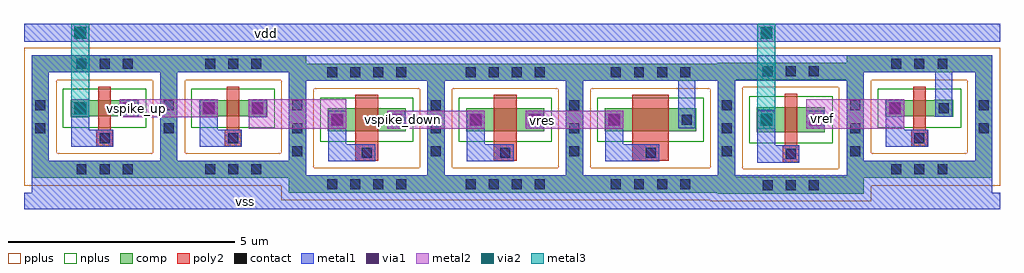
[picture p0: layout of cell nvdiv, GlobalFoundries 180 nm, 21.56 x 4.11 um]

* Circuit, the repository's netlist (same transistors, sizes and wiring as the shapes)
** sch_path: /foss/designs/Mosbious_2025_Spikcore/designs/libs/core_LIF_comp/core_vdiv/nvdiv.sch
.subckt nvdiv vss vdd vref vspike_up vspike_down vres
*.PININFO vref:O vdd:B vss:B vspike_up:O vspike_down:O vres:O
XM15 vdd vdd vspike_up vss nfet_03v3 L=0.28u W=0.36u nf=1 m=1
XM18 vspike_down vspike_down vres vss nfet_03v3 L=0.5u W=0.5u nf=1 m=1
XM16 vp vp vspike_down vss nfet_03v3 L=0.5u W=0.5u nf=1 m=1
XM19 vres vres vss vss nfet_03v3 L=0.8u W=0.5u nf=1 m=1
XM17 vspike_up vspike_up vp vss nfet_03v3 L=0.28u W=0.36u nf=1 m=1
XM20 vref vref vss vss nfet_03v3 L=0.28u W=0.36u nf=1 m=1
XM21 vdd vdd vref vss nfet_03v3 L=0.28u W=0.55u nf=1 m=1
.ends

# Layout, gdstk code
import gdstk
lib = gdstk.Library(unit=1e-6, precision=5e-09)
def R(c, l, rs):  # rectangles x0, y0, x1, y1
    for r in rs: c.add(gdstk.rectangle(r[:2], r[2:], *l))
def A(c, l, x, y, w, h, nx, ny, dx, dy):  # array of equal rectangles
    R(c, l, [(x+i*dx, y+j*dy, x+i*dx+w, y+j*dy+h) for i in range(nx) for j in range(ny)])
def P(c, l, *ps):  # polygons
    for p in ps: c.add(gdstk.Polygon(p, *l))
comp = (22, 0)
poly2 = (30, 0)
pplus = (31, 0)
nplus = (32, 0)
contact = (33, 0)
metal1 = (34, 0)
via1 = (35, 0)
metal2 = (36, 0)
via2 = (38, 0)
metal3 = (42, 0)

nfet_3 = lib.new_cell('nfet$3')
R(nfet_3, comp, [(-0.42,-0.01,0,0.37), (0.66,-0.01,1.08,0.37), (0,0,0.66,0.36)])
P(nfet_3, comp, [(-1.28,-1.36),(-1.28,0.97),(-0.9,0.97),(-0.9,-0.98),(1.56,-0.98),(1.56,0.97),(-1.28,0.97),(-1.28,1.35),(1.94,1.35),(1.94,-1.36)])
R(nfet_3, poly2, [(0.15,-0.66,0.51,-0.3), (0.19,-0.3,0.47,0.66)])
P(nfet_3, pplus, [(-1.45,-1.53),(-1.45,0.8),(-0.73,0.8),(-0.73,-0.81),(1.39,-0.81),(1.39,0.8),(-1.45,0.8),(-1.45,1.52),(2.11,1.52),(2.11,-1.53)])
R(nfet_3, nplus, [(-0.59,-0.25,1.25,0.61)])
A(nfet_3, contact, -0.29, -1.28, 0.22, 0.22, 3, 2, 0.51, 2.33)
R(nfet_3, contact, [(0.22,-0.59,0.44,-0.37), (-1.2,-0.37,-0.98,-0.15), (1.64,-0.37,1.86,-0.15), (-0.32,0.07,-0.1,0.29), (0.76,0.07,0.98,0.29), (-1.2,0.14,-0.98,0.36), (1.64,0.14,1.86,0.36)])
R(nfet_3, metal1, [(0.14,-0.67,0.52,-0.29), (-0.4,-0.01,-0.02,0.37), (0.68,-0.01,1.06,0.37)])

nfet_4 = lib.new_cell('nfet$4')
R(nfet_4, comp, [(-0.42,0,0,0.5), (0,0,0.88,0.5), (0.88,0,1.3,0.5)])
P(nfet_4, comp, [(-1.28,-1.36),(-1.28,1.11),(-0.9,1.11),(-0.9,-0.98),(1.78,-0.98),(1.78,1.11),(-1.28,1.11),(-1.28,1.49),(2.16,1.49),(2.16,-1.36)])
R(nfet_4, poly2, [(0.19,-0.66,0.69,-0.3), (0.19,-0.3,0.69,0.8)])
P(nfet_4, pplus, [(-1.45,-1.53),(-1.45,0.94),(-0.73,0.94),(-0.73,-0.81),(1.61,-0.81),(1.61,0.94),(-1.45,0.94),(-1.45,1.66),(2.33,1.66),(2.33,-1.53)])
R(nfet_4, nplus, [(-0.59,-0.24,1.47,0.74)])
A(nfet_4, contact, -0.435, -1.28, 0.22, 0.22, 4, 2, 0.51, 2.47)
A(nfet_4, contact, -1.2, -0.555, 0.22, 0.22, 1, 3, 0, 0.51)
A(nfet_4, contact, 1.86, -0.555, 0.22, 0.22, 1, 3, 0, 0.51)
R(nfet_4, contact, [(0.33,-0.59,0.55,-0.37), (-0.32,0.14,-0.1,0.36), (0.98,0.14,1.2,0.36)])
R(nfet_4, metal1, [(0.25,-0.67,0.63,-0.29), (-0.4,0.06,-0.02,0.44), (0.9,0.06,1.28,0.44)])

nfet_7 = lib.new_cell('nfet$7')
R(nfet_7, comp, [(-0.42,0,0,0.5), (0,0,1.18,0.5), (1.18,0,1.6,0.5)])
P(nfet_7, comp, [(-1.28,-1.36),(-1.28,1.11),(-0.9,1.11),(-0.9,-0.98),(2.08,-0.98),(2.08,1.11),(-1.28,1.11),(-1.28,1.49),(2.46,1.49),(2.46,-1.36)])
R(nfet_7, poly2, [(0.19,-0.66,0.99,-0.3), (0.19,-0.3,0.99,0.8)])
P(nfet_7, pplus, [(-1.45,-1.53),(-1.45,0.94),(-0.73,0.94),(-0.73,-0.81),(1.91,-0.81),(1.91,0.94),(-1.45,0.94),(-1.45,1.66),(2.63,1.66),(2.63,-1.53)])
R(nfet_7, nplus, [(-0.59,-0.24,1.77,0.74)])
A(nfet_7, contact, -0.285, -1.28, 0.22, 0.22, 4, 2, 0.51, 2.47)
A(nfet_7, contact, -1.2, -0.555, 0.22, 0.22, 1, 3, 0, 0.51)
A(nfet_7, contact, 2.16, -0.555, 0.22, 0.22, 1, 3, 0, 0.51)
R(nfet_7, contact, [(0.48,-0.59,0.7,-0.37), (-0.32,0.14,-0.1,0.36), (1.28,0.14,1.5,0.36)])
R(nfet_7, metal1, [(0.4,-0.67,0.78,-0.29), (-0.4,0.06,-0.02,0.44), (1.2,0.06,1.58,0.44)])

nfet_5 = lib.new_cell('nfet$5')
R(nfet_5, comp, [(-0.42,0,0,0.55), (0,0,0.66,0.55), (0.66,0,1.08,0.55)])
P(nfet_5, comp, [(-1.28,-1.36),(-1.28,1.16),(-0.9,1.16),(-0.9,-0.98),(1.56,-0.98),(1.56,1.16),(-1.28,1.16),(-1.28,1.54),(1.94,1.54),(1.94,-1.36)])
R(nfet_5, poly2, [(0.15,-0.66,0.51,-0.3), (0.19,-0.3,0.47,0.85)])
P(nfet_5, pplus, [(-1.45,-1.53),(-1.45,0.99),(-0.73,0.99),(-0.73,-0.81),(1.39,-0.81),(1.39,0.99),(-1.45,0.99),(-1.45,1.71),(2.11,1.71),(2.11,-1.53)])
R(nfet_5, nplus, [(-0.59,-0.24,1.25,0.79)])
A(nfet_5, contact, -0.29, -1.28, 0.22, 0.22, 3, 2, 0.51, 2.52)
A(nfet_5, contact, -1.2, -0.53, 0.22, 0.22, 1, 3, 0, 0.51)
A(nfet_5, contact, 1.64, -0.53, 0.22, 0.22, 1, 3, 0, 0.51)
R(nfet_5, contact, [(0.22,-0.59,0.44,-0.37), (-0.32,0.165,-0.1,0.385), (0.76,0.165,0.98,0.385)])
R(nfet_5, metal1, [(0.14,-0.67,0.52,-0.29), (-0.4,0.085,-0.02,0.465), (0.68,0.085,1.06,0.465)])

via_dev_1 = lib.new_cell('via_dev$1')
R(via_dev_1, metal1, [(0,0,0.4,0.4)])
R(via_dev_1, via1, [(0.07,0.07,0.33,0.33)])
R(via_dev_1, metal2, [(0,0,0.4,0.4)])
R(via_dev_1, via2, [(0.07,0.07,0.33,0.33)])
R(via_dev_1, metal3, [(0,0,0.4,0.4)])

via_dev = lib.new_cell('via_dev')
R(via_dev, metal1, [(0,0,0.4,0.4)])
R(via_dev, via1, [(0.07,0.07,0.33,0.33)])
R(via_dev, metal2, [(0,0,0.4,0.4)])

nvdiv = lib.new_cell('nvdiv')
R(nvdiv, pplus, [(3.275,9.205,18.435,9.495)])
R(nvdiv, metal1, [(-3.125,5.92,18.435,6.29), (13.075,6.955,13.665,7.335), (3.595,6.98,4.305,7.36), (6.655,6.98,7.365,7.36), (9.715,6.98,10.635,7.36), (13.075,7.2,13.475,8.125), (3.595,7.285,3.995,7.715), (6.655,7.285,7.055,7.715), (9.715,7.29,10.115,7.72), (-2.085,7.305,-1.375,7.685), (0.755,7.305,1.465,7.685), (15.915,7.305,16.49,7.685), (15.915,7.45,16.315,8.04), (-2.085,7.61,-1.685,8.04), (0.755,7.61,1.155,8.04), (11.325,8.03,11.705,8.81), (17.005,8.265,17.385,8.97), (-3.125,9.625,18.435,10.025)])
P(nvdiv, metal1, [(-2.955,6.29),(-2.955,8.945),(-2.575,8.945),(-2.575,6.995),(-0.115,6.995),(-0.115,8.945),(0.265,8.945),(0.265,6.995),(2.725,6.995),(2.725,8.76),(3.105,8.76),(3.105,6.67),(5.785,6.67),(5.785,8.76),(6.165,8.76),(6.165,6.67),(8.845,6.67),(8.845,8.76),(9.225,8.76),(9.225,6.67),(12.205,6.67),(12.205,8.76),(12.585,8.76),(12.585,6.67),(15.045,6.67),(15.045,8.76),(2.725,8.76),(2.725,8.945),(15.425,8.945),(15.425,6.995),(17.885,6.995),(17.885,8.945),(-2.955,8.945),(-2.955,9.325),(18.265,9.325),(18.265,6.29)])
R(nvdiv, metal2, [(1.835,7.7,3.995,8.355), (5.02,7.7,6.925,8.1), (8.11,7.7,9.92,8.1), (14.155,7.7,16.315,8.355), (-0.805,7.955,1.015,8.355)])
R(nvdiv, metal3, [(13.075,7.88,13.475,9.795), (-2.085,8.17,-1.685,9.81)])
nvdiv.add(gdstk.Reference(nfet_3, (-1.675,7.975)))
nvdiv.add(gdstk.Reference(nfet_3, (1.165,7.975)))
nvdiv.add(gdstk.Reference(nfet_4, (4.005,7.65)))
nvdiv.add(gdstk.Reference(nfet_4, (7.065,7.65)))
nvdiv.add(gdstk.Reference(nfet_7, (10.125,7.65)))
nvdiv.add(gdstk.Reference(nfet_5, (13.485,7.625)))
nvdiv.add(gdstk.Reference(nfet_3, (16.325,7.975)))
nvdiv.add(gdstk.Reference(via_dev_1, (-2.085,7.955)))
nvdiv.add(gdstk.Reference(via_dev_1, (-2.085,9.625)))
nvdiv.add(gdstk.Reference(via_dev, (-1.005,7.955)))
nvdiv.add(gdstk.Reference(via_dev, (0.755,7.955)))
nvdiv.add(gdstk.Reference(via_dev, (1.835,7.955)))
nvdiv.add(gdstk.Reference(via_dev, (3.595,7.7)))
nvdiv.add(gdstk.Reference(via_dev, (4.895,7.7)))
nvdiv.add(gdstk.Reference(via_dev, (7.955,7.7)))
nvdiv.add(gdstk.Reference(via_dev, (6.655,7.7)))
nvdiv.add(gdstk.Reference(via_dev, (9.715,7.7)))
nvdiv.add(gdstk.Reference(via_dev_1, (13.075,7.7)))
nvdiv.add(gdstk.Reference(via_dev, (14.155,7.7)))
nvdiv.add(gdstk.Reference(via_dev, (15.915,7.955)))
nvdiv.add(gdstk.Reference(via_dev_1, (13.075,9.625)))
nvdiv.add(gdstk.Label('vss', (1.765,6.1), layer=34, texttype=10))
nvdiv.add(gdstk.Label('vdd', (2.225,9.8), layer=34, texttype=10))
nvdiv.add(gdstk.Label('vspike_up', (-0.645,8.16), layer=34, texttype=10))
nvdiv.add(gdstk.Label('vspike_down', (5.26,7.905), layer=34, texttype=10))
nvdiv.add(gdstk.Label('vres', (8.33,7.89), layer=34, texttype=10))
nvdiv.add(gdstk.Label('vref', (14.515,7.935), layer=34, texttype=10))

lib.write_gds('nvdiv.gds')
